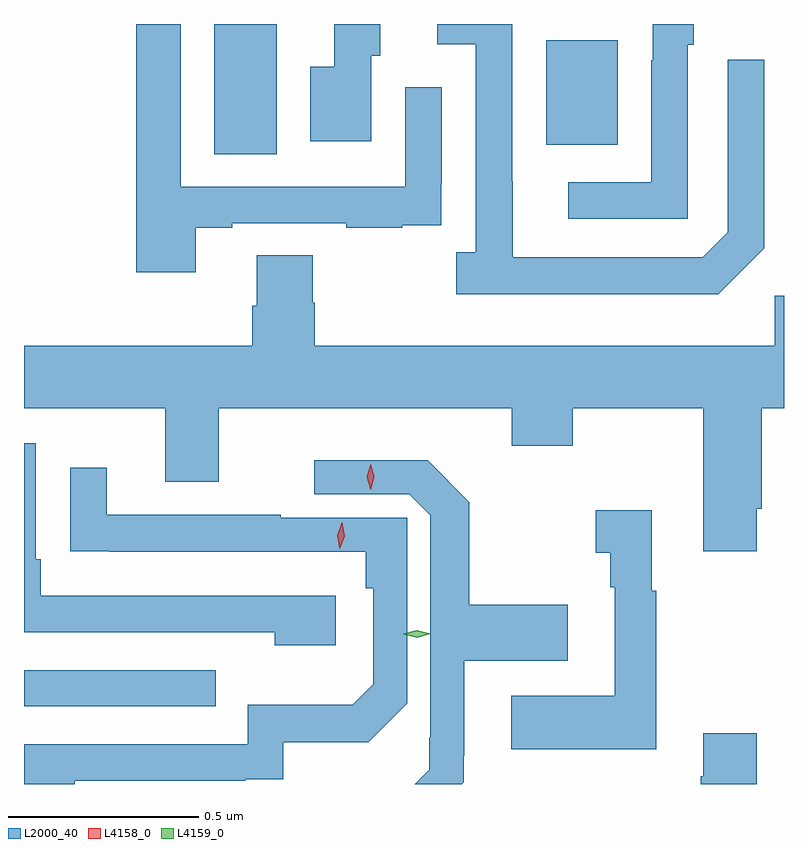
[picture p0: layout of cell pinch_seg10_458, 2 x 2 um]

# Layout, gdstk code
import gdstk
lib = gdstk.Library(unit=1e-6, precision=1e-09)
def R(c, l, rs):  # rectangles x0, y0, x1, y1
    for r in rs: c.add(gdstk.rectangle(r[:2], r[2:], *l))
def P(c, l, *ps):  # polygons
    for p in ps: c.add(gdstk.Polygon(p, *l))
L2000_40 = (2000, 40)
L4158_0 = (4158, 0)
L4159_0 = (4159, 0)

pinch_seg10_458 = lib.new_cell('pinch_seg10_458')
R(pinch_seg10_458, L2000_40, [(360.845,1315.515,361.349,1315.611), (361.346,1316.968,361.51,1317.311), (362.219,1316.993,362.407,1317.268)])
P(pinch_seg10_458, L2000_40, [(362.793,1316.721),(362.793,1317.217),(362.697,1317.217),(362.697,1316.763),(362.631,1316.697),(362.131,1316.697),(362.131,1316.897),(362.13,1316.897),(362.13,1317.311),(361.932,1317.311),(361.932,1317.258),(362.034,1317.258),(362.034,1316.71),(361.983,1316.71),(361.983,1316.6),(362.672,1316.6)],
  [(362.592,1317.257),(362.607,1317.257),(362.607,1317.311),(362.499,1317.311),(362.499,1317.215),(362.496,1317.215),(362.496,1316.895),(362.277,1316.895),(362.277,1316.799),(362.592,1316.799)],
  [(361.759,1317.228),(361.783,1317.228),(361.783,1317.311),(361.661,1317.311),(361.661,1317.199),(361.598,1317.199),(361.598,1317.003),(361.759,1317.003)],
  [(361.297,1316.775),(361.393,1316.775),(361.393,1316.787),(361.693,1316.787),(361.693,1316.775),(361.841,1316.775),(361.841,1316.781),(361.943,1316.781),(361.943,1316.89),(361.944,1316.89),(361.944,1317.145),(361.848,1317.145),(361.848,1316.883),(361.257,1316.883),(361.257,1317.311),(361.141,1317.311),(361.141,1316.658),(361.297,1316.658)],
  [(362.773,1316.035),(362.786,1316.035),(362.786,1316.3),(362.845,1316.3),(362.845,1316.596),(362.82,1316.596),(362.82,1316.464),(361.61,1316.464),(361.61,1316.577),(361.605,1316.577),(361.605,1316.702),(361.457,1316.702),(361.457,1316.57),(361.445,1316.57),(361.445,1316.464),(360.845,1316.464),(360.845,1316.3),(361.217,1316.3),(361.217,1316.106),(361.357,1316.106),(361.357,1316.3),(362.129,1316.3),(362.129,1316.201),(362.289,1316.201),(362.289,1316.3),(362.633,1316.3),(362.633,1315.923),(362.773,1315.923)],
  [(361.666,1315.806),(360.889,1315.806),(360.889,1315.903),(360.876,1315.903),(360.876,1316.208),(360.845,1316.208),(360.845,1315.71),(361.505,1315.71),(361.505,1315.676),(361.666,1315.676)],
  [(362.002,1315.316),(362.002,1315.385),(362.003,1315.385),(362.003,1315.635),(362.276,1315.635),(362.276,1315.783),(362.017,1315.783),(362.017,1316.053),(361.907,1316.163),(361.609,1316.163),(361.609,1316.073),(361.859,1316.073),(361.914,1316.018),(361.914,1315.433),(361.912,1315.433),(361.912,1315.349),(361.873,1315.311),(361.997,1315.311)],
  [(360.979,1315.32),(361.427,1315.32),(361.427,1315.323),(361.527,1315.323),(361.527,1315.421),(361.751,1315.421),(361.853,1315.523),(361.853,1316.012),(361.521,1316.012),(361.521,1316.019),(361.063,1316.019),(361.063,1316.143),(360.967,1316.143),(360.967,1315.924),(361.069,1315.924),(361.069,1315.922),(361.744,1315.922),(361.744,1315.826),(361.764,1315.826),(361.764,1315.573),(361.71,1315.519),(361.434,1315.519),(361.434,1315.416),(360.845,1315.416),(360.845,1315.311),(360.979,1315.311)],
  [(362.509,1315.819),(362.497,1315.819),(362.497,1316.032),(362.349,1316.032),(362.349,1315.919),(362.388,1315.919),(362.388,1315.829),(362.4,1315.829),(362.4,1315.543),(362.127,1315.543),(362.127,1315.403),(362.509,1315.403)],
  [(362.773,1315.444),(362.633,1315.444),(362.633,1315.331),(362.626,1315.331),(362.626,1315.311),(362.773,1315.311)])
P(pinch_seg10_458, L4158_0, [(361.757,1316.085),(361.757,1316.085),(361.747,1316.119),(361.757,1316.153),(361.757,1316.154),(361.757,1316.153),(361.767,1316.119),(361.757,1316.085)],
  [(361.676,1315.929),(361.676,1315.93),(361.669,1315.964),(361.681,1315.998),(361.681,1315.998),(361.682,1315.998),(361.689,1315.963),(361.676,1315.93)])
P(pinch_seg10_458, L4159_0, [(361.88,1315.696),(361.843,1315.705),(361.843,1315.705),(361.843,1315.706),(361.879,1315.716),(361.916,1315.706),(361.916,1315.706),(361.916,1315.706)])

lib.write_gds('pinch_seg10_458.gds')
